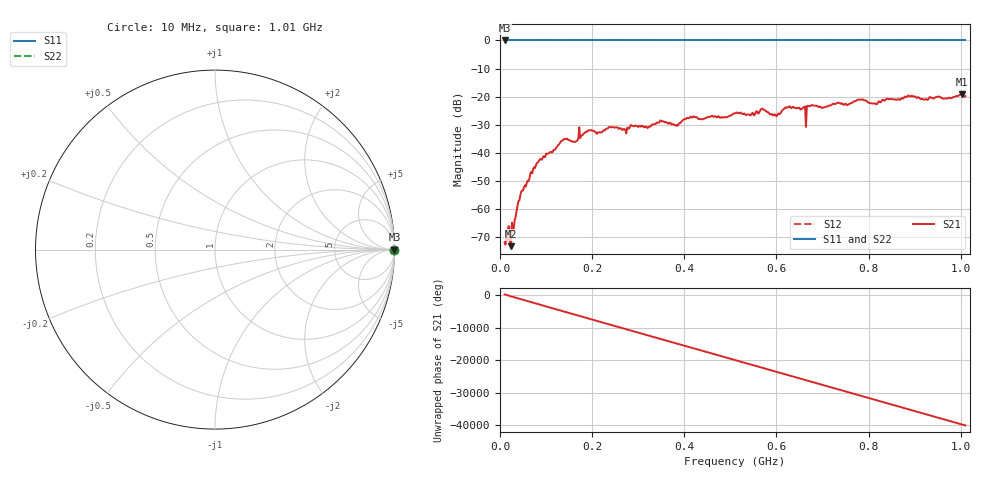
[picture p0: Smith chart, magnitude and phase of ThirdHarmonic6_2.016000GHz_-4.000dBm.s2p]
! 8/17/2025 12:12:07 AM
! C:\ANRITSUVNA\TEMP\TEMP.S2P
! CHANNEL.1
! TR.MEASUREMENT
! RAW.DATA
! RF.CORRECTION.OFF
! AVERAGING.OFF
! IF.BANDWIDTH: 5KHZ
! SWEEPTYPE:  FREQ.SWEEP(Linear)
! Reference Plane Port Info
! PORT:  PORT1  PORT2
! DISTANCE:  0  m  0  m
! TIME:  0  s  0  s
! PHASE.OFFSET:  0  deg.  0  deg.
! LOSS:  0  dB  0  dB
! REF.LOSS:  0  dB  0  dB
! REF.FREQ:  0  Hz  0  Hz
! Power Info
! POWER:  -20  dBm  -20  dBm
! EFF.POWER:  -20  dBm  -20  dBm
! SOURCE.ATTEN:  0  dB  0  dB
! TEST.ATTEN:  0  dB  0  dB
# GHZ S RI R 50.0
! FREQ.GHZ  S11RE  S11IM  S21RE  S21IM  S12RE  S12IM  S22RE  S22IM
!; PortSelection: Port_12
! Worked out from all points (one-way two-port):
!   501 points, 10 MHz to 1.01 GHz, reference 50 ohm
!   highest |S21| = -19.12 dB at 1.002 GHz (marker M1); lowest = -73.3 dB at 24 MHz (marker M2)
!   lowest |S11| = 0.0 dB at 10 MHz (marker M3)
!   |S11| at or under -10 dB: nowhere
!   |S22| runs from 0.0 to 0.0 dB; largest |S21 - S12| = 1.1
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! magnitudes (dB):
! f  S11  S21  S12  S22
! 10 MHz  0.0  -72.0  0.0  0.0
! 16 MHz  0.0  -71.2  0.0  0.0
! 24 MHz  0.0  -73.3  0.0  0.0
! 26 MHz  0.0  -64.9  0.0  0.0
! 44 MHz  0.0  -55.3  0.0  0.0
! 82 MHz  0.0  -43.5  0.0  0.0
! 136 MHz  0.0  -35.6  0.0  0.0
! 164 MHz  0.0  -36.0  0.0  0.0
! 178 MHz  0.0  -33.8  0.0  0.0
! 194 MHz  0.0  -31.9  0.0  0.0
! 344 MHz  0.0  -29.3  0.0  0.0
! 382 MHz  0.0  -30.4  0.0  0.0
! 416 MHz  0.0  -27.4  0.0  0.0
! 510 MHz  0.0  -25.9  0.0  0.0
! 570 MHz  0.0  -24.3  0.0  0.0
! 598 MHz  0.0  -26.5  0.0  0.0
! 624 MHz  0.0  -23.8  0.0  0.0
! 660 MHz  0.0  -23.7  0.0  0.0
! 678 MHz  0.0  -23.1  0.0  0.0
! 844 MHz  0.0  -20.9  0.0  0.0
! 1.002 GHz  0.0  -19.1  0.0  0.0
! 1.01 GHz  0.0  -19.8  0.0  0.0
